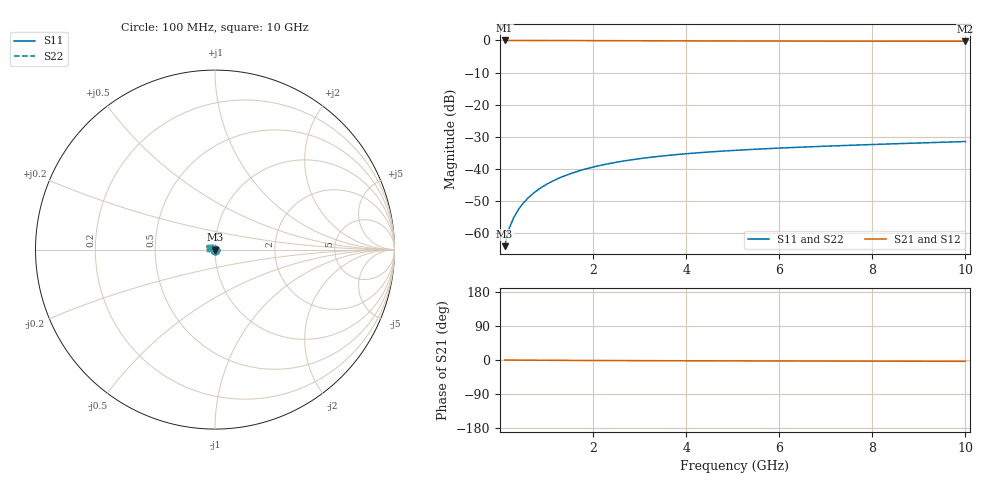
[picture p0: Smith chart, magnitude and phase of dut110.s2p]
! Touchstone file exported from HFSS 2024.1.0
!  File:  C:/UserFiles/LocalFiles/RDL_TSV_Batchsim/temp_TSV1_110_1779377838.aedt
!  Generated:  11:42:47 PM May 21, 2026
!  Design:  TSV1
!  Project:  temp_TSV1_110_1779377838
!  Setup:  Setup1
!  Solution:  Sweep
! Variables:
!  dtsv = 7.08um
!  hbump = 3um
!  htsv = 51.02um
!  lrdl = 252.1521522um
!  p = 40
!  p1 = 44.16um
!  t = 500um
!  trdl = 3um
!  wrdl = 24.89489489um
# GHz S MA R 50.000000
! Terminal data exported
! Port[1] = TSV22_T1
! Port[2] = TSV22_T2
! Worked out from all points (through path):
!   100 points, 100 MHz to 10 GHz, reference 50 ohm
!   highest |S21| = 0.00 dB at 100 MHz (marker M1); lowest = -0.2 dB at 10 GHz (marker M2)
!   lowest |S11| = -64.1 dB at 100 MHz (marker M3), VSWR 1.00, Z = 50 - j0.0591 ohm
!   |S11| at or under -10 dB: start of sweep to end of sweep
!   |S22| runs from -64.1 to -31.5 dB; largest |S21 - S12| = 2e-15
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0.1  0.0006247 -71.0  0.9998 -0.1  0.9998 -0.1  0.0006247 -71.0
! Gamma 0 0 0 0
! Port Impedance 50 0 50 0
0.2  0.001188 -83.2  0.9997 -0.2  0.9997 -0.2  0.001188 -83.2
0.3  0.001764 -88.7  0.9996 -0.2  0.9996 -0.2  0.001764 -88.7
0.4  0.002342 -92.5  0.9994 -0.3  0.9994 -0.3  0.002342 -92.5
0.5  0.002919 -95.5  0.9992 -0.4  0.9992 -0.4  0.002919 -95.5
0.6  0.003494 -98.1  0.999 -0.4  0.999 -0.4  0.003494 -98.1
0.7  0.004065 -100.5  0.9987 -0.5  0.9987 -0.5  0.004065 -100.5
0.8  0.004629 -102.8  0.9984 -0.6  0.9984 -0.6  0.004629 -102.8
0.9  0.005187 -104.9  0.9981 -0.7  0.9981 -0.7  0.005187 -104.9
1.1  0.006277 -108.9  0.9974 -0.8  0.9974 -0.8  0.006277 -108.9
1.4  0.007838 -114.5  0.9961 -1.0  0.9961 -1.0  0.007838 -114.5
1.6  0.008824 -118.0  0.9952 -1.1  0.9952 -1.1  0.008824 -118.0
1.8  0.009762 -121.4  0.9943 -1.2  0.9943 -1.2  0.009762 -121.4
2.1  0.01108 -126.3  0.9928 -1.3  0.9928 -1.3  0.01108 -126.3
2.5  0.01267 -132.3  0.9908 -1.5  0.9908 -1.5  0.01267 -132.3
2.9  0.01408 -138.0  0.9888 -1.7  0.9888 -1.7  0.01408 -138.0
3.4  0.01562 -144.4  0.9865 -1.9  0.9865 -1.9  0.01562 -144.4
4.2  0.01766 -153.6  0.9833 -2.1  0.9833 -2.1  0.01766 -153.6
5.1  0.0195 -162.5  0.9803 -2.4  0.9803 -2.4  0.0195 -162.5
6.7  0.02211 -175.4  0.9765 -2.7  0.9765 -2.7  0.02211 -175.4
8.4  0.02447 173.6  0.9738 -3.1  0.9738 -3.1  0.02447 173.6
10  0.02662 165.0  0.972 -3.5  0.972 -3.5  0.02662 165.0
